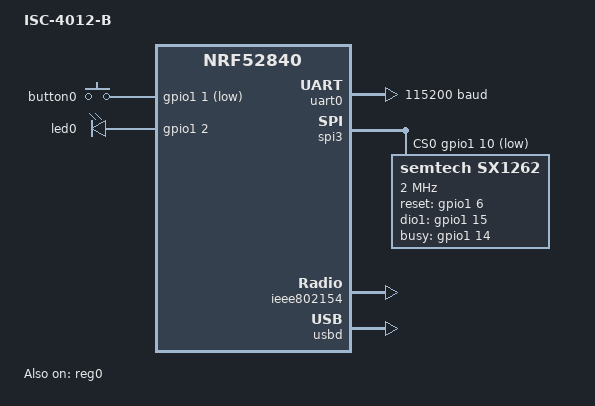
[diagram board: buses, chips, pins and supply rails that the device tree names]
/dts-v1/;
#include <nordic/nrf52840_qiaa.dtsi>
#include "ISC_4012_B-pinctrl.dtsi"

/ {
	model = "ISC-4012-B";
	compatible = "Indiesemic,ISC-4012-B";

	chosen {
		zephyr,sram = &sram0;
		zephyr,flash = &flash0;
		zephyr,code-partition = &slot0_partition;
		zephyr,bt-mon-uart = &cdc_acm_uart0;
		zephyr,bt-uart = &cdc_acm_uart0;
		zephyr,console = &cdc_acm_uart0;
		zephyr,shell-uart = &cdc_acm_uart0;
		zephyr,uart-mcumgr = &cdc_acm_uart0;
		zephyr,ieee802154 = &ieee802154;
	};

	buttons {
		compatible = "gpio-keys";
		button0: button_0 {
			gpios = <&gpio1 1 (GPIO_ACTIVE_LOW | GPIO_PULL_UP)>;
		};
	};

	leds {
		compatible = "gpio-leds";
		led0: led_0 {
			gpios = <&gpio1 2 GPIO_ACTIVE_HIGH>;
		};
	};

	aliases {
		led0 = &led0;
		sw0 = &button0;
		mcuboot-button0 = &button0;
		mcuboot-led0 = &led0;
		watchdog0 = &wdt0;
		lora0 = &sx1262;
	};
};

&gpio0 {
	status = "okay";
};

&gpio1 {
	status = "okay";
};

&gpiote {
	status = "okay";
};

&uicr {
	gpio-as-nreset;
};

&reg0 {
	status = "okay";
};

&reg1 {
	regulator-initial-mode = <NRF5X_REG_MODE_DCDC>;
};

&uart0 {
	status = "okay";
	pinctrl-0 = <&uart0_default>;
	pinctrl-1 = <&uart0_sleep>;
	pinctrl-names = "default", "sleep";
	current-speed = <115200>;
};

&spi3 {
	status = "okay";
	compatible = "nordic,nrf-spim";
	pinctrl-0 = <&spi3_default>;
	pinctrl-1 = <&spi3_sleep>;
	pinctrl-names = "default", "sleep";
	cs-gpios = <&gpio1 10 GPIO_ACTIVE_LOW>;
	sx1262:sx1262@0 {
		compatible = "semtech,sx1262";
		reg = <0>;
		spi-max-frequency = <DT_FREQ_M(2)>;
		reset-gpios = < &gpio1 6 GPIO_ACTIVE_HIGH >;
		dio1-gpios = < &gpio1 15 GPIO_ACTIVE_HIGH >;
		busy-gpios = < &gpio1 14 GPIO_ACTIVE_HIGH >;
		dio2-tx-enable;
	};
};

&ieee802154 {
	status = "okay";
};

zephyr_udc0: &usbd {
	compatible = "nordic,nrf-usbd";
	status = "okay";
	cdc_acm_uart0: cdc_acm_uart0 {
		compatible = "zephyr,cdc-acm-uart";
	};
};

&flash0 {
	partitions {
		compatible = "fixed-partitions";
		#address-cells = <1>;
		#size-cells = <1>;

		boot_partition: partition@0 {
			label = "mcuboot";
			reg = <0x00000000 DT_SIZE_K(48)>;
		};

		slot0_partition: partition@c000 {
			label = "image-0";
			reg = <0x0000c000 DT_SIZE_K(472)>;
		};

		slot1_partition: partition@82000 {
			label = "image-1";
			reg = <0x00082000 DT_SIZE_K(472)>;
		};

		storage_partition: partition@f8000 {
			label = "storage";
			reg = <0x000f8000 DT_SIZE_K(32)>;
		};
	};
};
